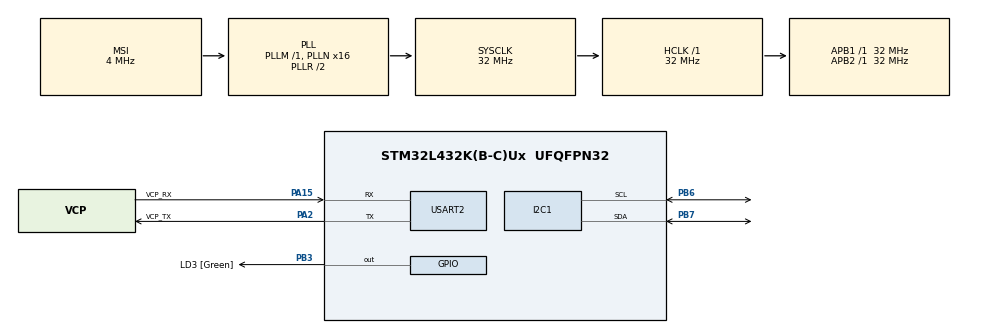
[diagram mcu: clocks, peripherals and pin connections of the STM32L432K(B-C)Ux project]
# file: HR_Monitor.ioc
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FREERTOS.Tasks01=defaultTask,24,2000,StartDefaultTask,Default,NULL,Dynamic,NULL,NULL
FREERTOS.configTOTAL_HEAP_SIZE=10240
FREERTOS.configUSE_NEWLIB_REENTRANT=1
I2C1.NoStretchMode=I2C_NOSTRETCH_DISABLE
I2C1.Timing=0x00707CBB
Mcu.Family=STM32L4
Mcu.Name=STM32L432K(B-C)Ux
Mcu.Package=UFQFPN32
NVIC.PriorityGroup=NVIC_PRIORITYGROUP_4
NVIC.TIM1_UP_TIM16_IRQn=true\:15\:0\:false\:false\:true\:false\:false\:true\:true
NVIC.TimeBase=TIM1_UP_TIM16_IRQn
NVIC.TimeBaseIP=TIM16
PA0.GPIO_Label=MCO [High speed clock in]
PA0.Mode=HSE-External-Clock-Source-for-LittleOrca
PA0.Signal=RCC_CK_IN
PA13\ (JTMS-SWDIO).GPIO_Label=SWDIO
PA13\ (JTMS-SWDIO).Mode=Serial_Wire
PA13\ (JTMS-SWDIO).Signal=SYS_JTMS-SWDIO
PA14\ (JTCK-SWCLK).GPIO_Label=SWCLK
PA14\ (JTCK-SWCLK).Mode=Serial_Wire
PA14\ (JTCK-SWCLK).Signal=SYS_JTCK-SWCLK
PA15\ (JTDI).GPIO_Label=VCP_RX
PA15\ (JTDI).Mode=Asynchronous
PA15\ (JTDI).Signal=USART2_RX
PA2.GPIO_Label=VCP_TX
PA2.Mode=Asynchronous
PA2.Signal=USART2_TX
PB3\ (JTDO-TRACESWO).GPIO_Label=LD3 [Green]
PB3\ (JTDO-TRACESWO).Signal=GPIO_Output
PB6.Mode=I2C
PB6.Signal=I2C1_SCL
PB7.Mode=I2C
PB7.Signal=I2C1_SDA
PC14-OSC32_IN\ (PC14).Mode=LSE-External-Oscillator
PC14-OSC32_IN\ (PC14).Signal=RCC_OSC32_IN
PC15-OSC32_OUT\ (PC15).Mode=LSE-External-Oscillator
PC15-OSC32_OUT\ (PC15).Signal=RCC_OSC32_OUT
ProjectManager.HeapSize=0x200
ProjectManager.StackSize=0x400
ProjectManager.TargetToolchain=STM32CubeIDE
RCC.AHBFreq_Value=32000000
RCC.APB1Freq_Value=32000000
RCC.APB1TimFreq_Value=32000000
RCC.APB2Freq_Value=32000000
RCC.APB2TimFreq_Value=32000000
RCC.CortexFreq_Value=32000000
RCC.HCLKFreq_Value=32000000
RCC.HSE_VALUE=8000000
RCC.HSI16_VALUE=16000000
RCC.HSI48_VALUE=48000000
RCC.HSI_VALUE=16000000
RCC.MSI_VALUE=4000000
RCC.PLLMUL=RCC_PLLMUL_4
RCC.PLLN=16
RCC.SYSCLKFreq_VALUE=32000000
RCC.SYSCLKSource=RCC_SYSCLKSOURCE_PLLCLK
RCC.VCOOutputFreq_Value=64000000
USART2.VirtualMode-Asynchronous=VM_ASYNC
VP_FREERTOS_VS_CMSIS_V2.Mode=CMSIS_V2
VP_SYS_VS_tim16.Mode=TIM16
board=NUCLEO-L432KC

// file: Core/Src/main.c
/* USER CODE BEGIN Header */
/**
 ******************************************************************************
 * @file           : main.c
 * @brief          : Main program body
 ******************************************************************************
 * @attention
 *
 * Copyright (c) 2023 STMicroelectronics.
 * All rights reserved.
 *
 * This software is licensed under terms that can be found in the LICENSE file
 * in the root directory of this software component.
 * If no LICENSE file comes with this software, it is provided AS-IS.
 *
 ******************************************************************************
 */
/* USER CODE END Header */
#include "main.h"
#include "cmsis_os.h"

/* USER CODE BEGIN Includes */
#include "max30101.h"
#include "cmsis_os2.h"
#include <stdio.h>
#include <string.h>
/* USER CODE END Includes */

I2C_HandleTypeDef hi2c1;

UART_HandleTypeDef huart2;

/* Definitions for defaultTask */
osThreadId_t defaultTaskHandle;
const osThreadAttr_t defaultTask_attributes = {
  .name = "defaultTask",
  .stack_size = 2000 * 4,
  .priority = (osPriority_t) osPriorityNormal,
};

void SystemClock_Config(void);
static void MX_GPIO_Init(void);
static void MX_USART2_UART_Init(void);
static void MX_I2C1_Init(void);
void StartDefaultTask(void *argument);

/* USER CODE BEGIN PFP */
MAX30101 hr_sensor;
/* USER CODE END PFP */

int main(void)
{

  /* MCU Configuration--------------------------------------------------------*/

  /* Reset of all peripherals, Initializes the Flash interface and the Systick. */
  HAL_Init();

  /* Configure the system clock */
  SystemClock_Config();

  /* Initialize all configured peripherals */
  MX_GPIO_Init();
  MX_USART2_UART_Init();
  MX_I2C1_Init();
  /* USER CODE BEGIN 2 */

	/**
	 * Initializes the sensor with the required configuration
	 * Sometime multiple approaches are required for a successfull
	 * sensor configuration - thus the while loop
	 */
	hr_sensor.i2c_handle = &hi2c1;
	while(MAX30101_initialize(&hr_sensor) != INIT_OK);
	char tmp_str[] = "Sensor configuration successfull!!!\r\n";
	HAL_UART_Transmit(&huart2, (uint8_t *)tmp_str, strlen(tmp_str), 200);
  /* USER CODE END 2 */

  /* Init scheduler */
  osKernelInitialize();

  /* Create the thread(s) */
  /* creation of defaultTask */
  defaultTaskHandle = osThreadNew(StartDefaultTask, NULL, &defaultTask_attributes);

  /* Start scheduler */
  osKernelStart();

  /* We should never get here as control is now taken by the scheduler */
  /* Infinite loop */
	while (1)
	{

	}
}

void SystemClock_Config(void)
{
  RCC_OscInitTypeDef RCC_OscInitStruct = {0};
  RCC_ClkInitTypeDef RCC_ClkInitStruct = {0};

  /** Configure the main internal regulator output voltage
  */
  if (HAL_PWREx_ControlVoltageScaling(PWR_REGULATOR_VOLTAGE_SCALE1) != HAL_OK)
  {
    Error_Handler();
  }

  /** Configure LSE Drive Capability
  */
  HAL_PWR_EnableBkUpAccess();
  __HAL_RCC_LSEDRIVE_CONFIG(RCC_LSEDRIVE_LOW);

  /** Initializes the RCC Oscillators according to the specified parameters
  * in the RCC_OscInitTypeDef structure.
  */
  RCC_OscInitStruct.OscillatorType = RCC_OSCILLATORTYPE_LSE|RCC_OSCILLATORTYPE_MSI;
  RCC_OscInitStruct.LSEState = RCC_LSE_ON;
  RCC_OscInitStruct.MSIState = RCC_MSI_ON;
  RCC_OscInitStruct.MSICalibrationValue = 0;
  RCC_OscInitStruct.MSIClockRange = RCC_MSIRANGE_6;
  RCC_OscInitStruct.PLL.PLLState = RCC_PLL_ON;
  RCC_OscInitStruct.PLL.PLLSource = RCC_PLLSOURCE_MSI;
  RCC_OscInitStruct.PLL.PLLM = 1;
  RCC_OscInitStruct.PLL.PLLN = 16;
  RCC_OscInitStruct.PLL.PLLP = RCC_PLLP_DIV7;
  RCC_OscInitStruct.PLL.PLLQ = RCC_PLLQ_DIV2;
  RCC_OscInitStruct.PLL.PLLR = RCC_PLLR_DIV2;
  if (HAL_RCC_OscConfig(&RCC_OscInitStruct) != HAL_OK)
  {
    Error_Handler();
  }

  /** Initializes the CPU, AHB and APB buses clocks
  */
  RCC_ClkInitStruct.ClockType = RCC_CLOCKTYPE_HCLK|RCC_CLOCKTYPE_SYSCLK
                              |RCC_CLOCKTYPE_PCLK1|RCC_CLOCKTYPE_PCLK2;
  RCC_ClkInitStruct.SYSCLKSource = RCC_SYSCLKSOURCE_PLLCLK;
  RCC_ClkInitStruct.AHBCLKDivider = RCC_SYSCLK_DIV1;
  RCC_ClkInitStruct.APB1CLKDivider = RCC_HCLK_DIV1;
  RCC_ClkInitStruct.APB2CLKDivider = RCC_HCLK_DIV1;

  if (HAL_RCC_ClockConfig(&RCC_ClkInitStruct, FLASH_LATENCY_1) != HAL_OK)
  {
    Error_Handler();
  }

  /** Enable MSI Auto calibration
  */
  HAL_RCCEx_EnableMSIPLLMode();
}

static void MX_I2C1_Init(void)
{

  hi2c1.Instance = I2C1;
  hi2c1.Init.Timing = 0x00707CBB;
  hi2c1.Init.OwnAddress1 = 0;
  hi2c1.Init.AddressingMode = I2C_ADDRESSINGMODE_7BIT;
  hi2c1.Init.DualAddressMode = I2C_DUALADDRESS_DISABLE;
  hi2c1.Init.OwnAddress2 = 0;
  hi2c1.Init.OwnAddress2Masks = I2C_OA2_NOMASK;
  hi2c1.Init.GeneralCallMode = I2C_GENERALCALL_DISABLE;
  hi2c1.Init.NoStretchMode = I2C_NOSTRETCH_DISABLE;
  if (HAL_I2C_Init(&hi2c1) != HAL_OK)
  {
    Error_Handler();
  }

  /** Configure Analogue filter
  */
  if (HAL_I2CEx_ConfigAnalogFilter(&hi2c1, I2C_ANALOGFILTER_ENABLE) != HAL_OK)
  {
    Error_Handler();
  }

  /** Configure Digital filter
  */
  if (HAL_I2CEx_ConfigDigitalFilter(&hi2c1, 0) != HAL_OK)
  {
    Error_Handler();
  }

}

static void MX_USART2_UART_Init(void)
{

  huart2.Instance = USART2;
  huart2.Init.BaudRate = 115200;
  huart2.Init.WordLength = UART_WORDLENGTH_8B;
  huart2.Init.StopBits = UART_STOPBITS_1;
  huart2.Init.Parity = UART_PARITY_NONE;
  huart2.Init.Mode = UART_MODE_TX_RX;
  huart2.Init.HwFlowCtl = UART_HWCONTROL_NONE;
  huart2.Init.OverSampling = UART_OVERSAMPLING_16;
  huart2.Init.OneBitSampling = UART_ONE_BIT_SAMPLE_DISABLE;
  huart2.AdvancedInit.AdvFeatureInit = UART_ADVFEATURE_NO_INIT;
  if (HAL_UART_Init(&huart2) != HAL_OK)
  {
    Error_Handler();
  }

}

static void MX_GPIO_Init(void)
{
  GPIO_InitTypeDef GPIO_InitStruct = {0};

  /* GPIO Ports Clock Enable */
  __HAL_RCC_GPIOC_CLK_ENABLE();
  __HAL_RCC_GPIOA_CLK_ENABLE();
  __HAL_RCC_GPIOB_CLK_ENABLE();

  /*Configure GPIO pin Output Level */
  HAL_GPIO_WritePin(LD3_GPIO_Port, LD3_Pin, GPIO_PIN_RESET);

  /*Configure GPIO pin : LD3_Pin */
  GPIO_InitStruct.Pin = LD3_Pin;
  GPIO_InitStruct.Mode = GPIO_MODE_OUTPUT_PP;
  GPIO_InitStruct.Pull = GPIO_NOPULL;
  GPIO_InitStruct.Speed = GPIO_SPEED_FREQ_LOW;
  HAL_GPIO_Init(LD3_GPIO_Port, &GPIO_InitStruct);

}

/* USER CODE BEGIN 4 */
void putchar_(char character)
{
    // send char to console etc.
    HAL_UART_Transmit(&huart2, (uint8_t*)&character, 1, 100);
}
/* USER CODE END 4 */

void StartDefaultTask(void *argument)
{
  /* USER CODE BEGIN 5 */

	/**
	 * Defines in which mode the data is analysed; either in real
	 * time or in a time series mode. If the real time mode is
	 * activated data samples are drawn from the memory and
	 * analysed on the go; the maximum analysed group of samples
	 * is defined via a parameter in the max30101.h file. The
	 * number of samples analysed has to take the delta threshold
	 * value into account defining at which point a new heart-beat
	 * analysis is started. In the time series mould a group of 200
	 * or more samples are analysed in a separate function. The number
	 * of samples penalised in the time service mode can be defined via
	 * a parameter in the max30101.h file.
	 */

	if(DATA_MODE == 0)
	{
		/**
		 * In RT-Mode only two samples are saved to calculate the delta of the
		 * current heart beat analysis.
		 */
		MAX30101_SAMPLE sample_old = { 0 };
		MAX30101_SAMPLE sample_new = { 0 };

		char teststr[50] = { 0 };

		int32_t delta_avg = 0;
		int32_t delta_sum = 0;
		uint64_t counter = 0;

		/**
		 * The RT analysis mode distinguishes between run and sample-values.
		 * Run value account for the analysis of 1 heart beat. Sample values
		 * are used to store the data of one sample group (usually 8). Low
		 * and high peaks are used to calculate the heart beat. The time between
		 * the low and high peak defines the speed of the heart beat.
		 */
		uint32_t run_peak_low_counter = 0;
		uint32_t run_peak_low_time= 0;
		uint32_t run_peak_low_value = 4000000;
		uint32_t sample_peak_low_value = 4000000;

		uint32_t run_peak_high_counter = 0;
		uint32_t run_peak_high_time = 0;
		uint32_t run_peak_high_value = 0;
		uint32_t sample_peak_high_value = 0;

		bool delta_neg_flag = false;
		//int32_t delta = 0;
		int16_t peak_to_peak_time = 0;

		/* Infinite loop */
		for(;;)
		{
			do
			{
				/**
				 * The sample peak values are reset at each run to make
				 * sure the lowest/highest point of the samples is found;
				 */
				sample_peak_low_value = 4000000;
				sample_peak_high_value = 0;
				delta_sum = 0;

				/**
				 * The MAX30101_get_interr_A_FULL checks if 8 samples (as defined
				 * in the MAX30101.h files are ready for being retrived from the
				 * FIFO memory of the chip.
				 */
				if(MAX30101_get_interr_A_FULL(&hr_sensor) == true)
				{
					/**
					 * A group of 8 samples (DELTA_SAMPLE) is retrived from the FIFO
					 */
					for(int i = 0; i < DELTA_SAMPLE; i++)
					{
						/**
						 * The MAX30101_read_sample function retrives a samples from the FIFO
						 */
						if(MAX30101_read_sample(&hr_sensor, &sample_new) == GET_REG_SUCCESS)
						{
							/**
							 * The if-counter function is a safeguard against the
							 * run-low value being reset after the decline in the
							 * red-led value after the peak. Otherwise the run-low
							 * time value might be reset to a value that is after
							 * the peak and thus turn the peak-to-peak time negative							 *
							 */

							if(counter < 50)
							{
								/**
								 * The following if statement ensure the lowest
								 * value of all samples in a run is set for the
								 * calculation of the peak-to-peak time
								 */

								if(run_peak_low_value > sample_new.red_led_value)
								{
									/**
									 * The following two statement set the low-runv value
									 * to the lowest point and the respective time as well
									 */
									run_peak_low_value = sample_new.red_led_value;
									run_peak_low_time = sample_new.tick_time;

									run_peak_low_counter = counter;
								}
							}

							/**
							 * The following if-statmetns set the run peak high
							 * value higher if a higher value than is encountered
							 * as in the previous group of samples
							 */

							if(run_peak_high_value < sample_new.red_led_value)
							{
								/**
								 * The run-high value is set higher as well as
								 * the run-high peak time to ensure a conformity
								 * witht the calculations
								 */
								run_peak_high_value = sample_new.red_led_value;
								run_peak_high_time = sample_new.tick_time;

								run_peak_high_counter = counter;
							}

							/**
							 * The following two if-statments set the samples high
							 * and low values in order to calculate the delta and
							 * thus the slop of the current sample. Afterwards the
							 * counter is increased used as a safeguard to not under
							 * mine the run low value when the values / delta is in
							 * a steep decline before a new run / heart beat starts.
							 */
							if(sample_peak_low_value > sample_new.red_led_value) sample_peak_low_value = sample_new.red_led_value;
							if(sample_peak_high_value < sample_new.red_led_value) sample_peak_high_value = sample_new.red_led_value;
							counter++;
						}

						/**
						 * The following if-statements calculates the sum of change over
						 * all values in this one group of samples (usually 8) in order
						 * to be able to calculate the average delta, i.e. if the curve
						 * is rising or in steep decline (i.e. a new heart beat starts).
						 * Afterwards the new_samples obtained is overwriting the old
						 * sample value used to calculate the delta between the samples
						 * taken i.e. the delta from the current and previous sample.
						 */
						if(i > 0) delta_sum = delta_sum + (sample_new.red_led_value - sample_old.red_led_value);
						sample_old = sample_new;

						//					sprintf(teststr, "RV:%8lu:  Time:%8lu\r\n", sample_new.red_led_value, sample_new.tick_time);
						//					HAL_UART_Transmit(&huart2, (uint8_t *)teststr, strlen(teststr), 200);
					}
				}

				/**
				 * Loop runs until sample_peak_low_value = is larger than idle values
				 * i.e. around 3000 at normal lighing
				 */
			} while(sample_peak_low_value < 5000 );

			/***
			 * The delta average is calculated to determine if the cureve is in
			 * a steep decline, i.e. marking the beginning of a new heart beat.
			 */
			delta_avg = delta_sum / DELTA_SAMPLE;

			/**
			 * If the delta average is below the threshold set in the MAX30101.h
			 * file, than the slope is consider to be in a steep decline, i.e. the
			 * end of a heart beat and the start of a new one. The DELTA_NEG_THRES
			 * needs to take into account the DELTA_SAMPLE size, i.e. the larger
			 * the sample the lower the DELTA_NEG_THRES since a larger sample
			 * will yield lower decline values.
			 */
			if(delta_avg < DELTA_NEG_THRES)
			{
				/***
				 * The delta negative flag (delta_neg_flag) indicates that until
				 * this sample the delta was positive, i.e. the new values belonged
				 * to the current heart beat signal.
				 */
				if(delta_neg_flag == false)
				{
					/***
					 * The peak_to_peak_time is calculated based on when the sample with
					 * the lowest red-led value has been retrieved from the FIFO and the
					 * time when the sample with the highest red-led value was retrieved
					 * from the FIFO. Due to the imprecise clock of the microcontroller
					 * a certain noise-deviation in the heart rate can't be avoided.
					 */
					peak_to_peak_time = run_peak_high_time - run_peak_low_time;

					/***
					 * The heart rate is calculated by dividing the peak-to-peak value
					 * by 1000 to obtain the ration of heart beats in a minute and
					 * muliply that value by 60. This formular has been found in an
					 * auxiliary document to the MAX30101 sensor - https://www.google.com/url?sa=t&rct=j&q=&esrc=s&source=web&cd=&cad=rja&uact=8&ved=2ahUKEwjkz_rV2d7_AhXSRvEDHTLwCM4QFnoECA0QAQ&url=https%3A%2F%2Fpdfserv.maximintegrated.com%2Fen%2Fan%2FAN6409.pdf&usg=AOvVaw0jHhasO1DeNEJfxw1rJ34F&opi=89978449
					 */

					/***
					 * Two measures are used to calculate the heart rate.
					 * 1. The assigned to the sample when retrieved from the FIFO
					 * is used. The time of the low peak is deducted from the time
					 * of the high peak.
					 * 2. The time from low to high peak is calculated based on the
					 * distance of the two samples; i.e. high and low peak run counter.
					 * Afterwards the difference is multiplied with 10(ms) since
					 * 3200 samples are made every second and averaged by 32, i.e.
					 * the sensor produces 100 samples each second, i.e. 1000ms.
					 *
					 * When the time-distance between the peak has been obtained
					 * the value is used to devide 1000 ms and multiply that by
					 * 60 as indicated in the formular in the companion document
					 * to the sensor
					 *
					 */
					float heart_rate = (1000 / (float)peak_to_peak_time) * 60;
					float heart_rate_calc = ((1000 /((run_peak_high_counter - run_peak_low_counter) * 10) * 60));

					//sprintf(teststr, "::::::::::P2P High Time: %8ld\r\n", run_peak_high_time);
					//HAL_UART_Transmit(&huart2, (uint8_t *)teststr, strlen(teststr), 200);
					//sprintf(teststr, "::::::::::P2P Low Time: %8ld\r\n", run_peak_low_time);
					//HAL_UART_Transmit(&huart2, (uint8_t *)teststr, strlen(teststr), 200);
					//sprintf(teststr, "::::::::::P2P Time: %8d\r\n", peak_to_peak_time);
					//HAL_UART_Transmit(&huart2, (uint8_t *)teststr, strlen(teststr), 200);

					sprintf(teststr, "HEART RATE: %d\r\n", (uint8_t)heart_rate);
					HAL_UART_Transmit(&huart2, (uint8_t *)teststr, strlen(teststr), 200);
					sprintf(teststr, "HEART RATE CB: %d\r\n\r\n", (uint8_t)heart_rate_calc);
					HAL_UART_Transmit(&huart2, (uint8_t *)teststr, strlen(teststr), 200);

					uint8_t send_hr = (uint8_t)heart_rate_calc;
					HAL_StatusTypeDef status;
					status = HAL_I2C_Mem_Write(&hi2c1, (0x69 << 1), 0x00, sizeof(uint8_t), &send_hr, sizeof(uint8_t), 200);
					if(status != HAL_OK)
					{
						translate_I2C_Error(&hi2c1);
					}
					send_hr = (uint8_t)heart_rate;
					status = HAL_I2C_Mem_Write(&hi2c1, (0x69 << 1), 0x01, sizeof(uint8_t), &send_hr, sizeof(uint8_t), 200);
					if(status != HAL_OK)
					{
						translate_I2C_Error(&hi2c1);
					}

					/**
					 * The delta_neg_flag is set to true to avoid another calculation of an
					 * heart rate after the peak value has been reached and the curve has
					 * been in a steep decline.
					 */
					run_peak_low_value = 4000000;
					run_peak_high_value = 0;

					run_peak_high_counter = 0;
					run_peak_low_counter = 0;
					counter = 0;

					delta_neg_flag = true;

				}
			}

			/***
			 * If the delta average turns positive again after a steep decline, i.e the
			 * start of a new heart beat the delta_neg_flag is set back to false;
			 */
			if(delta_avg > 0)
			{
				delta_neg_flag = false;
			}
		}
	}
  /* USER CODE END 5 */
}

void HAL_TIM_PeriodElapsedCallback(TIM_HandleTypeDef *htim)
{
  if (htim->Instance == TIM16) {
    HAL_IncTick();
  }
}

void Error_Handler(void)
{
	__disable_irq();
	while (1)
	{
	}
}
